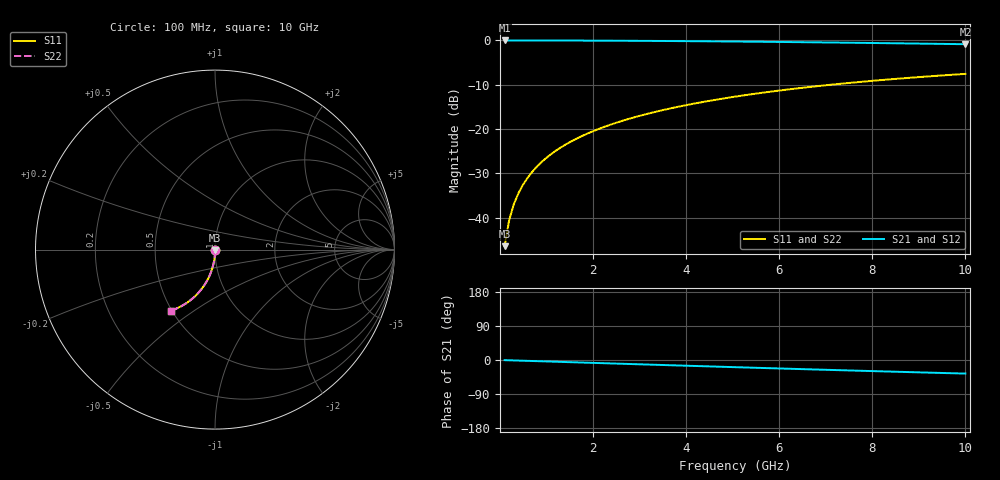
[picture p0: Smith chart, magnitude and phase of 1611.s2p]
# Hz S RI R 50.00
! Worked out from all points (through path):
!   100 points, 100 MHz to 10 GHz, reference 50 ohm
!   highest |S21| = 0.00 dB at 100 MHz (marker M1); lowest = -0.9 dB at 10 GHz (marker M2)
!   group delay of S21, straight-line fit = 10 ps
!   lowest |S11| = -46.4 dB at 100 MHz (marker M3), VSWR 1.01, Z = 50 - j0.476 ohm
!   |S11| at or under -10 dB: start of sweep to 7.104 GHz
!   |S22| runs from -46.4 to -7.5 dB; largest |S21 - S12| = 0
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1e8  0.000425 -0.00476  0.9995 -0.00664  0.9995 -0.00664  0.000425 -0.00476
2e8  0.000328 -0.00952  0.9994 -0.0133  0.9994 -0.0133  0.000328 -0.00952
3e8  0.000167 -0.0143  0.9992 -0.0199  0.9992 -0.0199  0.000167 -0.0143
4e8  -5.8e-05 -0.019  0.999 -0.0265  0.999 -0.0265  -5.8e-05 -0.019
5e8  -0.000346 -0.0238  0.9987 -0.0332  0.9987 -0.0332  -0.000346 -0.0238
6e8  -0.000697 -0.0285  0.9983 -0.0398  0.9983 -0.0398  -0.000697 -0.0285
7e8  -0.00111 -0.0333  0.9979 -0.0464  0.9979 -0.0464  -0.00111 -0.0333
8e8  -0.00159 -0.038  0.9973 -0.053  0.9973 -0.053  -0.00159 -0.038
9e8  -0.00213 -0.0427  0.9968 -0.0596  0.9968 -0.0596  -0.00213 -0.0427
1.1e9  -0.00339 -0.0521  0.9954 -0.0728  0.9954 -0.0728  -0.00339 -0.0521
1.4e9  -0.00576 -0.0662  0.9929 -0.0925  0.9929 -0.0925  -0.00576 -0.0662
1.8e9  -0.00977 -0.0847  0.9887 -0.1185  0.9887 -0.1185  -0.00977 -0.0847
2.1e9  -0.0134 -0.0984  0.9848 -0.1379  0.9848 -0.1379  -0.0134 -0.0984
2.5e9  -0.0191 -0.1164  0.9788 -0.1634  0.9788 -0.1634  -0.0191 -0.1164
2.9e9  -0.0257 -0.134  0.9719 -0.1886  0.9719 -0.1886  -0.0257 -0.134
3.4e9  -0.0351 -0.1553  0.9618 -0.2194  0.9618 -0.2194  -0.0351 -0.1553
4.2e9  -0.0529 -0.1878  0.943 -0.267  0.943 -0.267  -0.0529 -0.1878
5.1e9  -0.0764 -0.2215  0.9179 -0.3178  0.9179 -0.3178  -0.0764 -0.2215
5.9e9  -0.1001 -0.2486  0.8927 -0.3601  0.8927 -0.3601  -0.1001 -0.2486
6.7e9  -0.1258 -0.2727  0.8651 -0.3996  0.8651 -0.3996  -0.1258 -0.2727
8.4e9  -0.1856 -0.3139  0.8005 -0.4736  0.8005 -0.4736  -0.1856 -0.3139
1e10  -0.2454 -0.34  0.735 -0.5309  0.735 -0.5309  -0.2454 -0.34
